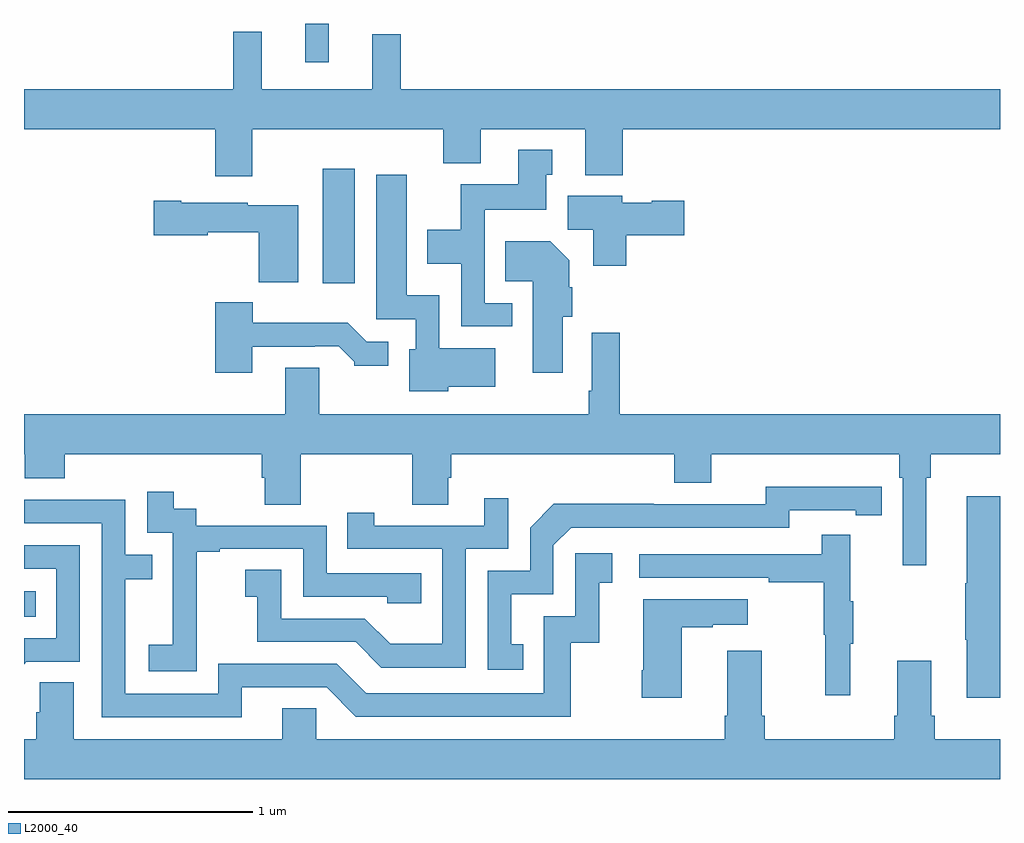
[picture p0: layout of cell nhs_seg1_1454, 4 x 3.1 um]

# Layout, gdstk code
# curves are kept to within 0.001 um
import gdstk
lib = gdstk.Library(unit=1e-6, precision=1e-09)
def R(c, l, rs):  # rectangles x0, y0, x1, y1
    for r in rs: c.add(gdstk.rectangle(r[:2], r[2:], *l))
def P(c, l, *ps):  # polygons
    for p in ps: c.add(gdstk.Polygon(p, *l))
L2000_40 = (2000, 40)

nhs_seg1_1454 = lib.new_cell('nhs_seg1_1454')
R(nhs_seg1_1454, L2000_40, [(191,513.77,191.048,513.874), (192.224,515.136,192.355,515.605), (192.152,516.042,192.249,516.199)])
P(nhs_seg1_1454, L2000_40, [(191.935,515.768),(192.719,515.768),(192.719,515.627),(192.871,515.627),(192.871,515.768),(193.301,515.768),(193.301,515.579),(193.454,515.579),(193.454,515.768),(195,515.768),(195,515.932),(192.545,515.932),(192.545,516.157),(192.428,516.157),(192.428,515.932),(191.975,515.932),(191.975,516.166),(191.857,516.166),(191.857,515.932),(191,515.932),(191,515.768),(191.783,515.768),(191.783,515.574),(191.935,515.574)],
  [(193,515.055),(192.888,515.055),(192.888,515.438),(193.141,515.438),(193.141,515.58),(193.165,515.58),(193.165,515.683),(193.025,515.683),(193.025,515.542),(192.79,515.542),(192.79,515.356),(192.653,515.356),(192.653,515.216),(192.792,515.216),(192.792,514.959),(193,514.959)],
  [(192.738,514.712),(192.931,514.712),(192.931,514.87),(192.702,514.87),(192.702,515.086),(192.568,515.086),(192.568,515.581),(192.443,515.581),(192.443,514.989),(192.606,514.989),(192.606,514.866),(192.578,514.866),(192.578,514.694),(192.738,514.694)],
  [(193.469,515.333),(193.705,515.333),(193.705,515.475),(193.572,515.475),(193.572,515.467),(193.452,515.467),(193.452,515.494),(193.229,515.494),(193.229,515.356),(193.334,515.356),(193.334,515.208),(193.469,515.208)],
  [(192.124,515.455),(191.916,515.455),(191.916,515.467),(191.644,515.467),(191.644,515.475),(191.532,515.475),(191.532,515.333),(191.754,515.333),(191.754,515.345),(191.962,515.345),(191.962,515.141),(192.124,515.141)],
  [(193.207,514.998),(193.247,514.998),(193.247,515.12),(193.234,515.12),(193.234,515.23),(193.156,515.308),(192.973,515.308),(192.973,515.144),(193.085,515.144),(193.085,514.77),(193.207,514.77)],
  [(191.935,514.875),(192.191,514.875),(192.191,514.878),(192.29,514.878),(192.354,514.814),(192.354,514.799),(192.493,514.799),(192.493,514.896),(192.405,514.896),(192.327,514.975),(191.938,514.975),(191.938,515.059),(191.783,515.059),(191.783,514.77),(191.935,514.77)],
  [(194.698,514.34),(194.717,514.34),(194.717,514.436),(195,514.436),(195,514.6),(193.442,514.6),(193.442,514.933),(193.326,514.933),(193.326,514.696),(193.314,514.696),(193.314,514.6),(192.211,514.6),(192.211,514.79),(192.071,514.79),(192.071,514.6),(191,514.6),(191,514.436),(191.003,514.436),(191.003,514.337),(191.168,514.337),(191.168,514.436),(191.975,514.436),(191.975,514.338),(191.987,514.338),(191.987,514.228),(192.135,514.228),(192.135,514.436),(192.592,514.436),(192.592,514.228),(192.739,514.228),(192.739,514.338),(192.752,514.338),(192.752,514.436),(193.664,514.436),(193.664,514.319),(193.816,514.319),(193.816,514.436),(194.588,514.436),(194.588,514.34),(194.601,514.34),(194.601,513.981),(194.698,513.981)],
  [(193.046,513.657),(192.997,513.657),(192.997,513.861),(193.17,513.861),(193.17,514.062),(193.242,514.134),(194.136,514.134),(194.136,514.206),(194.408,514.206),(194.408,514.186),(194.516,514.186),(194.516,514.302),(194.04,514.303),(194.04,514.23),(193.58,514.23),(193.58,514.232),(193.172,514.232),(193.074,514.134),(193.074,513.957),(192.9,513.957),(192.9,513.552),(193.046,513.552)],
  [(191.709,513.751),(191.708,513.751),(191.708,514.035),(191.803,514.035),(191.803,514.047),(192.144,514.047),(192.144,513.852),(192.489,513.852),(192.489,513.825),(192.629,513.825),(192.629,513.948),(192.24,513.948),(192.24,514.143),(191.706,514.143),(191.706,514.212),(191.614,514.212),(191.614,514.282),(191.505,514.282),(191.505,514.113),(191.61,514.113),(191.61,513.884),(191.609,513.884),(191.609,513.655),(191.511,513.655),(191.511,513.545),(191.709,513.545)],
  [(195,514.264),(194.864,514.264),(194.864,513.906),(194.857,513.906),(194.857,513.676),(194.864,513.676),(194.864,513.438),(195,513.438)],
  [(192.81,514.047),(192.984,514.047),(192.984,514.255),(192.887,514.255),(192.887,514.143),(192.436,514.143),(192.436,514.195),(192.325,514.195),(192.325,514.047),(192.714,514.047),(192.714,513.658),(192.5,513.658),(192.396,513.762),(192.054,513.762),(192.054,513.961),(191.907,513.961),(191.907,513.851),(191.956,513.851),(191.956,513.666),(192.359,513.666),(192.464,513.561),(192.81,513.561)],
  [(191.893,513.48),(192.24,513.48),(192.36,513.36),(193.24,513.36),(193.24,513.663),(193.358,513.663),(193.358,513.909),(193.411,513.909),(193.411,514.03),(193.26,514.03),(193.26,513.771),(193.131,513.771),(193.131,513.456),(192.402,513.456),(192.282,513.576),(191.796,513.576),(191.796,513.453),(191.415,513.453),(191.415,513.922),(191.525,513.922),(191.525,514.023),(191.415,514.023),(191.415,514.248),(191,514.248),(191,514.152),(191.319,514.152),(191.319,513.357),(191.893,513.357)],
  [(194.387,513.659),(194.398,513.659),(194.398,513.833),(194.387,513.833),(194.387,514.105),(194.269,514.105),(194.269,514.026),(193.521,514.026),(193.521,513.93),(194.053,513.93),(194.053,513.91),(194.277,513.91),(194.277,513.696),(194.284,513.696),(194.284,513.447),(194.387,513.447)],
  [(191.01,513.585),(191.229,513.585),(191.229,514.062),(191,514.062),(191,513.966),(191.133,513.966),(191.133,513.681),(191,513.681),(191,513.575)],
  [(193.696,513.727),(193.823,513.727),(193.823,513.737),(193.966,513.737),(193.966,513.841),(193.538,513.841),(193.538,513.55),(193.531,513.55),(193.531,513.438),(193.696,513.438)],
  [(195,513.268),(194.732,513.268),(194.732,513.364),(194.719,513.364),(194.719,513.589),(194.579,513.589),(194.579,513.364),(194.567,513.364),(194.567,513.268),(194.036,513.268),(194.036,513.364),(194.023,513.364),(194.023,513.631),(193.883,513.631),(193.883,513.364),(193.871,513.364),(193.871,513.268),(192.198,513.268),(192.198,513.395),(192.059,513.395),(192.059,513.268),(191.203,513.268),(191.203,513.5),(191.064,513.5),(191.064,513.377),(191.051,513.377),(191.051,513.268),(191,513.268),(191,513.104),(195,513.104)])

lib.write_gds('nhs_seg1_1454.gds')
